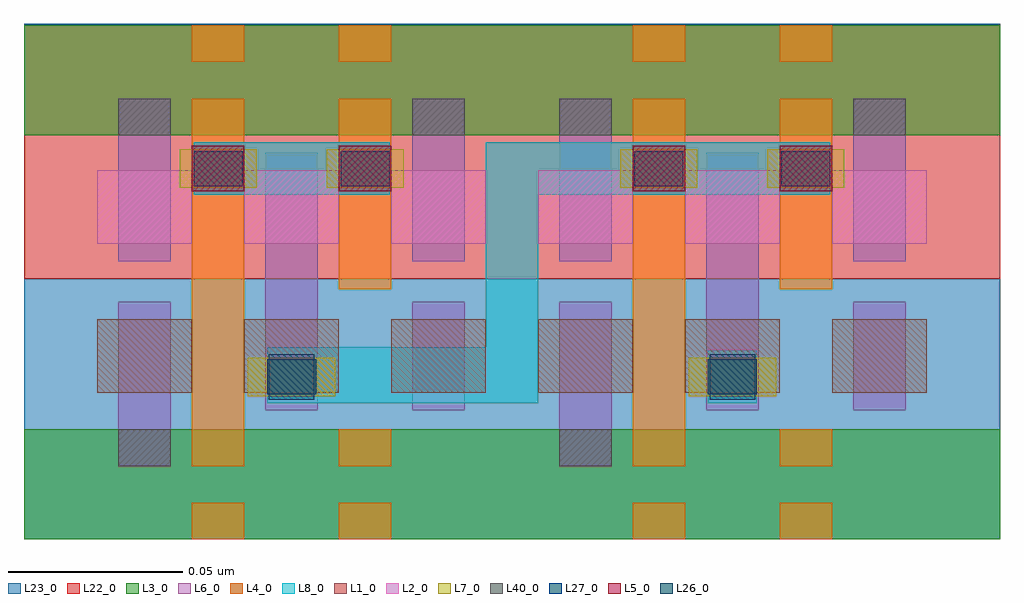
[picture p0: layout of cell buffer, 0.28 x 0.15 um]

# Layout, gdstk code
import gdstk
lib = gdstk.Library(unit=1e-6, precision=2.5e-10)
def R(c, l, rs):  # rectangles x0, y0, x1, y1
    for r in rs: c.add(gdstk.rectangle(r[:2], r[2:], *l))
def A(c, l, x, y, w, h, nx, ny, dx, dy):  # array of equal rectangles
    R(c, l, [(x+i*dx, y+j*dy, x+i*dx+w, y+j*dy+h) for i in range(nx) for j in range(ny)])
def P(c, l, *ps):  # polygons
    for p in ps: c.add(gdstk.Polygon(p, *l))
L1_0 = (1, 0)
L2_0 = (2, 0)
L3_0 = (3, 0)
L4_0 = (4, 0)
L5_0 = (5, 0)
L6_0 = (6, 0)
L7_0 = (7, 0)
L8_0 = (8, 0)
L22_0 = (22, 0)
L23_0 = (23, 0)
L26_0 = (26, 0)
L27_0 = (27, 0)
L40_0 = (40, 0)

inv = lib.new_cell('inv')
A(inv, L1_0, 0.021, 0.042, 0.027, 0.021, 3, 1, 0.042, 0)
A(inv, L2_0, 0.021, 0.0845, 0.027, 0.021, 3, 1, 0.042, 0)
R(inv, L3_0, [(0,0,0.153,0.0315), (0,0.1155,0.153,0.147)])
R(inv, L4_0, [(0.048,0,0.063,0.0105), (0.09,0,0.105,0.0105), (0.048,0.021,0.063,0.126), (0.09,0.021,0.105,0.0315), (0.09,0.0715,0.105,0.126), (0.048,0.1365,0.063,0.147), (0.09,0.1365,0.105,0.147)])
R(inv, L5_0, [(0.048,0.0995,0.063,0.1125), (0.09,0.0995,0.105,0.1125)])
R(inv, L6_0, [(0.027,0.021,0.042,0.068), (0.069,0.037,0.084,0.1105), (0.111,0.037,0.126,0.068), (0.027,0.0795,0.042,0.126), (0.111,0.0795,0.126,0.126)])
R(inv, L7_0, [(0.064,0.041,0.089,0.052), (0.0445,0.1005,0.0665,0.1115), (0.0865,0.1005,0.1085,0.1115)])
R(inv, L8_0, [(0.0695,0.039,0.0835,0.054), (0.0485,0.0985,0.1045,0.1135)])
R(inv, L22_0, [(0,0.0745,0.153,0.147)])
R(inv, L23_0, [(0,0,0.153,0.0745), (0,0.147,0.153,0.1475)])
R(inv, L26_0, [(0.07,0.04,0.083,0.053)])
R(inv, L27_0, [(0.0695,0.0415,0.0835,0.0515), (0.0485,0.101,0.0625,0.111), (0.0905,0.101,0.1045,0.111)])
R(inv, L40_0, [(0.027,0.021,0.042,0.0315), (0.027,0.1155,0.042,0.126), (0.111,0.1155,0.126,0.126)])

buffer = lib.new_cell('buffer')
R(buffer, L3_0, [(0.045,0.0065,0.0615,0.0165), (0.13,0.1315,0.145,0.143)])
R(buffer, L8_0, [(0.217,0.0435,0.2275,0.053)])
P(buffer, L8_0, [(0.1945,0.114),(0.1945,0.099),(0.167,0.099),(0.167,0.0395),(0.0895,0.0395),(0.0895,0.0555),(0.152,0.0555),(0.152,0.114)])
buffer.add(gdstk.Reference(inv, (0.146,0.0005)))
buffer.add(gdstk.Reference(inv, (0.02,0.0005)))

lib.write_gds('buffer.gds')
